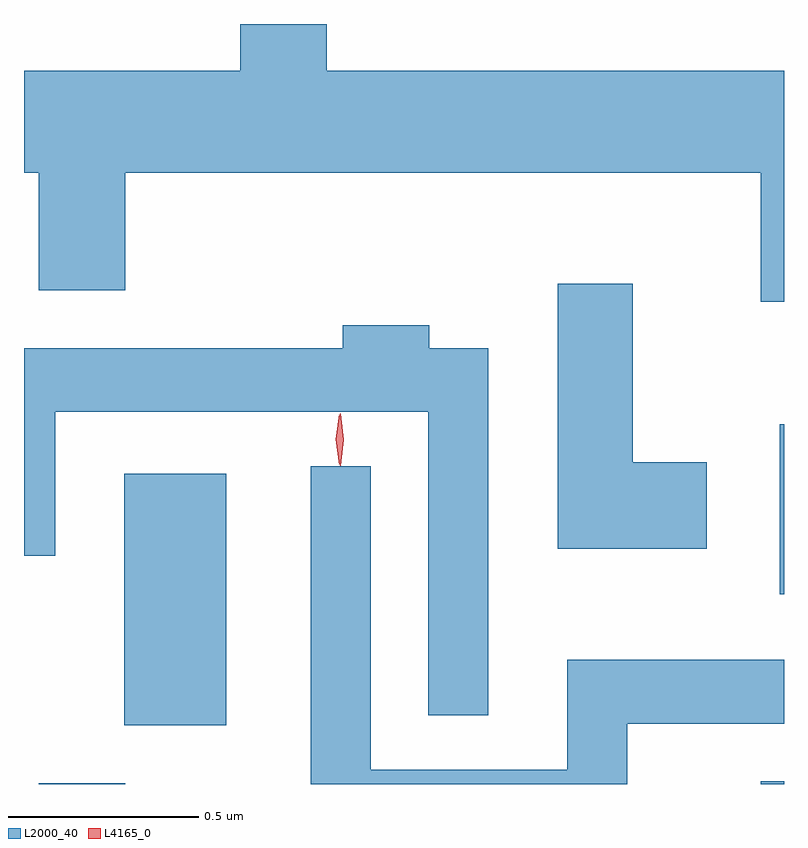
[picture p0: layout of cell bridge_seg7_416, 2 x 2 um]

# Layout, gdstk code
import gdstk
lib = gdstk.Library(unit=1e-6, precision=1e-09)
def R(c, l, rs):  # rectangles x0, y0, x1, y1
    for r in rs: c.add(gdstk.rectangle(r[:2], r[2:], *l))
def P(c, l, *ps):  # polygons
    for p in ps: c.add(gdstk.Polygon(p, *l))
L2000_40 = (2000, 40)
L4165_0 = (4165, 0)

bridge_seg7_416 = lib.new_cell('bridge_seg7_416')
R(bridge_seg7_416, L2000_40, [(1071.221,1741.567,1071.449,1741.569), (1073.121,1741.567,1073.182,1741.574), (1071.446,1741.721,1071.714,1742.384), (1073.171,1742.066,1073.182,1742.514)])
P(bridge_seg7_416, L2000_40, [(1073.182,1743.444),(1071.979,1743.444),(1071.979,1743.567),(1071.751,1743.567),(1071.751,1743.444),(1071.182,1743.444),(1071.182,1743.176),(1071.221,1743.176),(1071.221,1742.866),(1071.449,1742.866),(1071.449,1743.176),(1073.121,1743.176),(1073.121,1742.836),(1073.182,1742.836)],
  [(1072.979,1742.414),(1072.784,1742.414),(1072.784,1742.884),(1072.586,1742.884),(1072.586,1742.186),(1072.979,1742.186)],
  [(1072.404,1742.714),(1072.249,1742.714),(1072.249,1742.774),(1072.021,1742.774),(1072.021,1742.714),(1071.182,1742.714),(1071.182,1742.168),(1071.264,1742.168),(1071.264,1742.546),(1072.246,1742.546),(1072.246,1741.748),(1072.404,1741.748)],
  [(1072.769,1741.726),(1073.182,1741.726),(1073.182,1741.894),(1072.611,1741.894),(1072.611,1741.604),(1072.094,1741.604),(1072.094,1742.403),(1071.936,1742.403),(1071.936,1741.567),(1072.769,1741.567)])
P(bridge_seg7_416, L4165_0, [(1072.011,1742.407),(1072.002,1742.474),(1072.011,1742.54),(1072.012,1742.54),(1072.012,1742.54),(1072.022,1742.474),(1072.012,1742.407),(1072.012,1742.407)],
  [(1072.014,1742.404),(1072.014,1742.404),(1072.004,1742.473),(1072.014,1742.542),(1072.014,1742.543),(1072.015,1742.542),(1072.024,1742.473),(1072.015,1742.404)])

lib.write_gds('bridge_seg7_416.gds')
